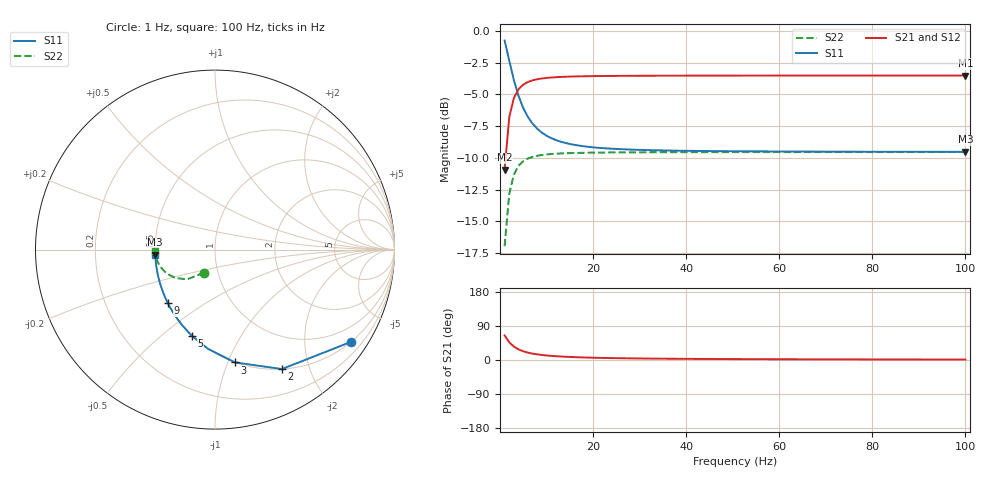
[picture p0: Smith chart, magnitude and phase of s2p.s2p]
! S2P File: Measurements: S11, S21, S12, S22
# Hz S RI R 50
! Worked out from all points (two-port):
!   100 points, 1 Hz to 100 Hz, reference 50 ohm
!   highest |S21| = -3.52 dB at 100 Hz (marker M1); lowest = -10.9 dB at 1 Hz (marker M2)
!   |S21| within 3 dB of the highest: 2.181 Hz to end of sweep
!   lowest |S11| = -9.5 dB at 100 Hz (marker M3), VSWR 2.00, Z = 25 - j1.59 ohm
!   |S11| at or under -10 dB: nowhere
!   |S22| runs from -16.9 to -9.5 dB; largest |S21 - S12| = 3.3e-16
!   S11 on the Smith chart (normalised r, x): 1 Hz: 0.50, -3.18; 2 Hz: 0.50, -1.59; 3 Hz: 0.50, -1.06; 5 Hz: 0.50, -0.64; 9 Hz: 0.50, -0.35; 100 Hz: 0.50, -0.03
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1  0.7577 -0.5141  0.1211 0.2571  0.1211 0.2571  -0.0606 -0.1285
2  0.3728 -0.6655  0.3136 0.3327  0.3136 0.3327  -0.1568 -0.1664
3  0.1113 -0.6286  0.4443 0.3143  0.4443 0.3143  -0.2222 -0.1572
4  -0.0405 -0.552  0.5202 0.276  0.5202 0.276  -0.2601 -0.138
5  -0.1298 -0.4795  0.5649 0.2398  0.5649 0.2398  -0.2825 -0.1199
6  -0.1851 -0.4191  0.5925 0.2096  0.5925 0.2096  -0.2963 -0.1048
7  -0.2211 -0.3702  0.6106 0.1851  0.6106 0.1851  -0.3053 -0.0925
8  -0.2457 -0.3304  0.6228 0.1652  0.6228 0.1652  -0.3114 -0.0826
9  -0.2631 -0.2978  0.6316 0.1489  0.6316 0.1489  -0.3158 -0.0745
11  -0.2855 -0.248  0.6427 0.124  0.6427 0.124  -0.3214 -0.062
13  -0.2987 -0.212  0.6494 0.106  0.6494 0.106  -0.3247 -0.053
15  -0.3072 -0.1849  0.6536 0.0925  0.6536 0.0925  -0.3268 -0.0462
18  -0.3151 -0.155  0.6575 0.0775  0.6575 0.0775  -0.3288 -0.0388
21  -0.3199 -0.1334  0.6599 0.0667  0.6599 0.0667  -0.33 -0.0333
25  -0.3238 -0.1124  0.6619 0.0562  0.6619 0.0562  -0.3309 -0.0281
29  -0.3262 -0.097  0.6631 0.0485  0.6631 0.0485  -0.3316 -0.0243
34  -0.3282 -0.0829  0.6641 0.0414  0.6641 0.0414  -0.332 -0.0207
42  -0.3299 -0.0672  0.665 0.0336  0.665 0.0336  -0.3325 -0.0168
51  -0.331 -0.0554  0.6655 0.0277  0.6655 0.0277  -0.3328 -0.0138
67  -0.332 -0.0422  0.666 0.0211  0.666 0.0211  -0.333 -0.0105
84  -0.3325 -0.0337  0.6662 0.0168  0.6662 0.0168  -0.3331 -0.00842
100  -0.3327 -0.0283  0.6664 0.0141  0.6664 0.0141  -0.3332 -0.00707
